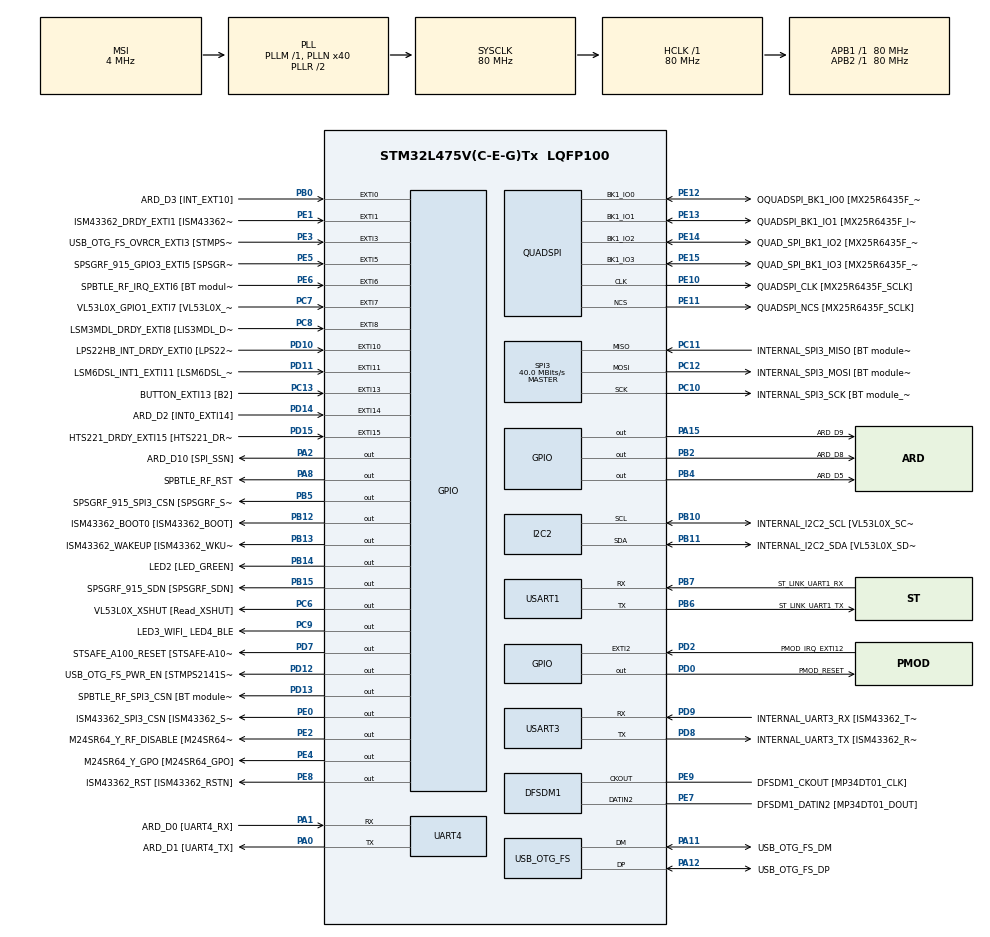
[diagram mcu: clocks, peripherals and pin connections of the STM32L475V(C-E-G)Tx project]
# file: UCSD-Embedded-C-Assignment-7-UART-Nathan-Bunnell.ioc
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PD12.GPIO_Label=USB_OTG_FS_PWR_EN [STMPS2141STR_EN]
SPI3.Direction=SPI_DIRECTION_2LINES
SPI3.VirtualType=VM_MASTER
QUADSPI.ClockPrescaler=2
PB10.Mode=I2C
PC12.Signal=SPI3_MOSI
PB14.GPIO_Label=LED2 [LED_GREEN]
PC6.GPIO_Label=VL53L0X_XSHUT [Read_XSHUT]
PA6.GPIO_Label=ARD_D12 [SPI1_MISO]
PB6.GPIO_Label=ST_LINK_UART1_TX
PA15\ (JTDI).Signal=GPIO_Output
PC15-OSC32_OUT\ (PC15).Mode=LSE-External-Oscillator
PB13.Signal=GPIO_Output
PD6.GPIO_Label=PMOD_UART2_RX
PE6.GPIO_Label=SPBTLE_RF_IRQ_EXTI6 [BT module_SPI_IRQ]
RCC.SYSCLKSource=RCC_SYSCLKSOURCE_PLLCLK
PC14-OSC32_IN\ (PC14).Mode=LSE-External-Oscillator
SH.ADCx_IN16.0=ADC1_IN16
USART3.VirtualMode-Asynchronous=VM_ASYNC
PA14\ (JTCK-SWCLK).Signal=SYS_JTCK-SWCLK
PD4.Signal=USART2_RTS
RCC.APB2TimFreq_Value=80000000
PB6.Signal=USART1_TX
PC7.Signal=GPXTI7
PB6.Mode=Asynchronous
PC3.Signal=ADCx_IN4
PD0.Signal=GPIO_Output
PD8.Signal=USART3_TX
PE5.Signal=GPXTI5
PE1.Signal=GPXTI1
QUADSPI.FlashSize=23
NVIC.EXTI15_10_IRQn=true\:0\:0\:false\:false\:true\:true\:true
PB2.Signal=GPIO_Output
PD1.GPIO_Label=PMOD_SPI2_SCK
PB12.GPIO_Label=ISM43362_BOOT0 [ISM43362_BOOT]
PC4.GPIO_Label=ARD_A1 [ADC]
PE9.Signal=S_CKOUTDFSDM1
PB1.GPIO_Label=ARD_D6 [ADC1_IN6]
PE4.GPIO_Label=M24SR64_Y_GPO [M24SR64_GPO]
PA0.Mode=Asynchronous
PE2.Signal=GPIO_Output
PA8.Signal=GPIO_Output
PE13.Mode=Single Bank
PE10.Signal=QUADSPI_CLK
PA0.Signal=UART4_TX
Mcu.Package=LQFP100
PB9.Signal=I2C1_SDA
PB1.Signal=ADCx_IN16
SPI3.Mode=SPI_MODE_MASTER
SH.ADCx_IN14.0=ADC1_IN14
PD12.Signal=GPIO_Output
PA10.Signal=USB_OTG_FS_ID
PE12.GPIO_Label=OQUADSPI_BK1_IO0 [MX25R6435F_IO0]
PC11.Mode=Full_Duplex_Master
SH.ADCx_IN9.0=ADC1_IN9
RCC.APB1TimFreq_Value=80000000
PA13\ (JTMS-SWDIO).Signal=SYS_JTMS-SWDIO
PE10.GPIO_Label=QUADSPI_CLK [MX25R6435F_SCLK]
PA4.GPIO_Label=ARD_D7
PD15.Signal=GPXTI15
PE12.Mode=Single Bank
PD9.GPIO_Label=INTERNAL_UART3_RX [ISM43362_TX]
PA9.GPIO_Label=USB_OTG_FS_VBUS [STMPS2141STR_OUT]
PC13.Signal=GPXTI13
PD3.Signal=USART2_CTS
PC6.Signal=GPIO_Output
PE10.Mode=Single Bank
PC2.Signal=ADCx_IN3
PB11.GPIO_Label=INTERNAL_I2C2_SDA [VL53L0X_SDA]
PD7.Signal=GPIO_Output
PD1.Signal=SPI2_SCK
PA11.GPIO_Label=USB_OTG_FS_DM
PC0.Signal=ADCx_IN1
PD10.Signal=GPXTI10
PB8.GPIO_Label=ARD_D15 [I2C1_SCL]
PA8.GPIO_Label=SPBTLE_RF_RST
PB11.Mode=I2C
PE8.GPIO_Label=ISM43362_RST [ISM43362_RSTN]
PA9.Signal=USB_OTG_FS_VBUS
PE9.GPIO_Label=DFSDM1_CKOUT [MP34DT01_CLK]
PD8.Mode=Asynchronous
PB10.Signal=I2C2_SCL
PB14.Signal=GPIO_Output
PA5.Signal=SPI1_SCK
PC12.Mode=Full_Duplex_Master
PE1.GPIO_Label=ISM43362_DRDY_EXTI1 [ISM43362_DATARDY]
PA1.Mode=Asynchronous
PE14.Signal=QUADSPI_BK1_IO2
PE15.Signal=QUADSPI_BK1_IO3
PB15.GPIO_Label=SPSGRF_915_SDN [SPSGRF_SDN]
PE8.Signal=GPIO_Output
PA1.GPIO_Label=ARD_D0 [UART4_RX]
SH.ADCx_IN4.0=ADC1_IN4
QUADSPI.FifoThreshold=4
PC7.GPIO_Label=VL53L0X_GPIO1_EXTI7 [VL53L0X_GPIO1]
PA13\ (JTMS-SWDIO).Mode=Serial_Wire
PA4.Signal=ADCx_IN9
PB5.Signal=GPIO_Output
PE13.GPIO_Label=QUADSPI_BK1_IO1 [MX25R6435F_IO1]
PA5.GPIO_Label=ARD_D13 [SPI1_SCK]
PD11.Signal=GPXTI11
PE5.GPIO_Label=SPSGRF_915_GPIO3_EXTI5 [SPSGRF_GPIO_3]
PC12.GPIO_Label=INTERNAL_SPI3_MOSI [BT module_SPI_MOSI] [ISM43362_MOSI]
PA11.Signal=USB_OTG_FS_DM
ProjectManager.HeapSize=0x200
NVIC.PriorityGroup=NVIC_PRIORITYGROUP_4
PE3.Signal=GPXTI3
PC3.GPIO_Label=ARD_A2 [ADC]
PB4\ (NJTRST).GPIO_Label=ARD_D5
PD2.Signal=GPXTI2
PB0.Signal=GPXTI0
PC1.Signal=ADCx_IN2
PD2.GPIO_Label=PMOD_IRQ_EXTI12
PE15.Mode=Single Bank
Mcu.Family=STM32L4
RCC.CortexFreq_Value=80000000
PE11.GPIO_Label=QUADSPI_NCS [MX25R6435F_SCLK]
SH.ADCx_IN2.0=ADC1_IN2
PC10.Signal=SPI3_SCK
PA0.GPIO_Label=ARD_D1 [UART4_TX]
PC0.GPIO_Label=ARD_A5 [ADC]
PD0.GPIO_Label=PMOD_RESET
PA11.Mode=Device_Only
PB0.GPIO_Label=ARD_D3 [INT_EXT10]
PC13.GPIO_Label=BUTTON_EXTI13 [B2]
PB13.GPIO_Label=ISM43362_WAKEUP [ISM43362_WKUP]
PB11.Signal=I2C2_SDA
PB15.Signal=GPIO_Output
PD9.Mode=Asynchronous
ProjectManager.StackSize=0x400
PB3\ (JTDO-TRACESWO).Signal=SYS_JTDO-SWO
PD13.Signal=GPIO_Output
PA12.Signal=USB_OTG_FS_DP
PE11.Mode=Single Bank
PD11.GPIO_Label=LSM6DSL_INT1_EXTI11 [LSM6DSL_INT1]
RCC.HCLKFreq_Value=80000000
SH.ADCx_IN3.0=ADC1_IN3
PB5.PinState=GPIO_PIN_SET
RCC.AHBFreq_Value=80000000
RCC.HSE_VALUE=8000000
PE13.Signal=QUADSPI_BK1_IO1
PC11.GPIO_Label=INTERNAL_SPI3_MISO [BT module_SPI_MISO] [ISM43362_MISO]
PA10.GPIO_Label=USB_OTG_FS_ID
PB7.Signal=USART1_RX
PE4.Signal=GPIO_Output
QUADSPI.SampleShifting=QSPI_SAMPLE_SHIFTING_HALFCYCLE
PD7.GPIO_Label=STSAFE_A100_RESET [STSAFE-A100_RESET]
PB7.GPIO_Label=ST_LINK_UART1_RX
PD13.GPIO_Label=SPBTLE_RF_SPI3_CSN [BT module_SPI_CS]
PA6.Signal=SPI1_MISO
PD5.GPIO_Label=PMOD_UART2_TX
PA2.GPIO_Label=ARD_D10 [SPI_SSN]
USB_OTG_FS.VirtualMode=Device_Only
PE0.GPIO_Label=ISM43362_SPI3_CSN [ISM43362_SSN]
SH.ADCx_IN1.0=ADC1_IN1
PB5.GPIO_Label=SPSGRF_915_SPI3_CSN [SPSGRF_SPI_CS]
PC5.Signal=ADCx_IN14
PD3.GPIO_Label=PMOD_UART2_CTS
PE7.Signal=S_DATAIN2DFSDM1
PD6.Signal=USART2_RX
PE2.GPIO_Label=M24SR64_Y_RF_DISABLE [M24SR64_RFDIS]
PC2.GPIO_Label=ARD_A3 [ADC]
RCC.PLLSAI1N=24
PA3.Signal=S_TIM2_CH4
RCC.MSI_VALUE=4000000
PA14\ (JTCK-SWCLK).Mode=Serial_Wire
SH.ADCx_IN13.0=ADC1_IN13
PD15.GPIO_Label=HTS221_DRDY_EXTI15 [HTS221_DRDY]
PB9.GPIO_Label=ARD_D14 [I2C1_SDA]
PC10.GPIO_Label=INTERNAL_SPI3_SCK [BT module_SPI_SCLK] [ISM43362_SCK]
PC9.GPIO_Label=LED3_WIFI_ LED4_BLE
PC11.Signal=SPI3_MISO
PC8.Signal=GPXTI8
PC4.Signal=ADCx_IN13
PC10.Mode=Full_Duplex_Master
SH.S_DATAIN2DFSDM1.0=DFSDM1_DATIN2,PDM_SPI_Input_from_ch12_and_Internal_Clock
PE14.GPIO_Label=QUAD_SPI_BK1_IO2 [MX25R6435F_IO2]
PC15-OSC32_OUT\ (PC15).Signal=RCC_OSC32_OUT
PD9.Signal=USART3_RX
PD5.Signal=USART2_TX
PA14\ (JTCK-SWCLK).GPIO_Label=SYS_JTCK_SWCLK
PB3\ (JTDO-TRACESWO).GPIO_Label=SYS_JTD0_SWO
PA12.GPIO_Label=USB_OTG_FS_DP
PD8.GPIO_Label=INTERNAL_UART3_TX [ISM43362_RX]
PC8.GPIO_Label=LSM3MDL_DRDY_EXTI8 [LIS3MDL_DRDY]
USART1.VirtualMode-Asynchronous=VM_ASYNC
PE0.PinState=GPIO_PIN_SET
PE15.GPIO_Label=QUAD_SPI_BK1_IO3 [MX25R6435F_IO3]
ProjectManager.TargetToolchain=STM32CubeIDE
PB10.GPIO_Label=INTERNAL_I2C2_SCL [VL53L0X_SCL]
RCC.USBFreq_Value=48000000
PD10.GPIO_Label=LPS22HB_INT_DRDY_EXTI0 [LPS22HB_INT_DRDY] 
PE11.Signal=QUADSPI_NCS
PA1.Signal=UART4_RX
board=B-L475E-IOT01A1
RCC.VCOOutputFreq_Value=160000000
RCC.APB2Freq_Value=80000000
SPI3.CalculateBaudRate=40.0 MBits/s
PA13\ (JTMS-SWDIO).GPIO_Label=SYS_JTMS_SWDIO
PD4.GPIO_Label=PMOD_UART2_RTS
PE14.Mode=Single Bank
SH.S_CKOUTDFSDM1.0=DFSDM1_CKOUT,CKOUT
SH.S_CKOUTDFSDM1.1=DFSDM1_CKOUT,PDM_SPI_Input_from_ch12_and_Internal_Clock
RCC.ADCFreq_Value=48000000
PC1.GPIO_Label=ARD_A4 [ADC]
PD14.GPIO_Label=ARD_D2 [INT0_EXTI14]
PE6.Signal=GPXTI6
PA15\ (JTDI).GPIO_Label=ARD_D9
Mcu.Name=STM32L475V(C-E-G)Tx
PE0.Signal=GPIO_Output
PE7.GPIO_Label=DFSDM1_DATIN2 [MP34DT01_DOUT]
PE12.Signal=QUADSPI_BK1_IO0
PA2.Signal=GPIO_Output
PD14.Signal=GPXTI14
RCC.SYSCLKFreq_VALUE=80000000
PA7.GPIO_Label=ARD_D11 [SPI1_MOSI]
PA12.Mode=Device_Only
PC13.GPIO_ModeDefaultEXTI=GPIO_MODE_IT_FALLING
PC5.GPIO_Label=ARD_A0 [ADC]
PC14-OSC32_IN\ (PC14).Signal=RCC_OSC32_IN
PB7.Mode=Asynchronous
NVIC.EXTI9_5_IRQn=true\:0\:0\:false\:false\:true\:true\:true
PB2.GPIO_Label=ARD_D8
SH.S_TIM2_CH4.0=TIM2_CH4
RCC.HSI_VALUE=16000000
RCC.PLLN=40
PB8.Signal=I2C1_SCL
PE3.GPIO_Label=USB_OTG_FS_OVRCR_EXTI3 [STMPS2141STR_FAULT]
PC9.Signal=GPIO_Output
PD13.PinState=GPIO_PIN_SET
RCC.APB1Freq_Value=80000000
PB12.Signal=GPIO_Output
PA3.GPIO_Label=ARD_D4
PA7.Signal=SPI1_MOSI
PB4\ (NJTRST).Signal=GPIO_Output

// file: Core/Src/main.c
/* USER CODE BEGIN Header */
/**
  ******************************************************************************
  * @file           : main.c
  * @brief          : Main program body
  ******************************************************************************
  * @attention
  *
  * <h2><center>&copy; Copyright (c) 2021 STMicroelectronics.
  * All rights reserved.</center></h2>
  *
  * This software component is licensed by ST under BSD 3-Clause license,
  * the "License"; You may not use this file except in compliance with the
  * License. You may obtain a copy of the License at:
  *                        opensource.org/licenses/BSD-3-Clause
  *
  ******************************************************************************
  */
/* USER CODE END Header */
#include "main.h"

/* USER CODE BEGIN Includes */

#include <stdio.h>
#include <string.h>

/* USER CODE END Includes */

DFSDM_Channel_HandleTypeDef hdfsdm1_channel1;

I2C_HandleTypeDef hi2c2;

QSPI_HandleTypeDef hqspi;

SPI_HandleTypeDef hspi3;

UART_HandleTypeDef huart4;
UART_HandleTypeDef huart1;
UART_HandleTypeDef huart3;

PCD_HandleTypeDef hpcd_USB_OTG_FS;

void SystemClock_Config(void);
static void MX_GPIO_Init(void);
static void MX_DFSDM1_Init(void);
static void MX_I2C2_Init(void);
static void MX_QUADSPI_Init(void);
static void MX_SPI3_Init(void);
static void MX_USART1_UART_Init(void);
static void MX_USART3_UART_Init(void);
static void MX_USB_OTG_FS_PCD_Init(void);
static void MX_UART4_Init(void);

int main(void)
{

  /* MCU Configuration--------------------------------------------------------*/

  /* Reset of all peripherals, Initializes the Flash interface and the Systick. */
  HAL_Init();

  /* Configure the system clock */
  SystemClock_Config();

  /* Initialize all configured peripherals */
  MX_GPIO_Init();
  MX_DFSDM1_Init();
  MX_I2C2_Init();
  MX_QUADSPI_Init();
  MX_SPI3_Init();
  MX_USART1_UART_Init();
  MX_USART3_UART_Init();
  MX_USB_OTG_FS_PCD_Init();
  MX_UART4_Init();

  /* USER CODE BEGIN 2 */

  char buffer[100] = {0};
  uint8_t uart1Counter = 0;
  uint8_t uart4Counter = 0;

  snprintf(buffer, sizeof(buffer), "UART1: %d\n", uart1Counter);
  HAL_UART_Transmit(&huart1, (uint8_t*) buffer, strlen(buffer), 1000);

  snprintf(buffer, sizeof(buffer), "UART4: %d\n", uart4Counter);
  HAL_UART_Transmit(&huart4, (uint8_t*) buffer, strlen(buffer), 1000);

  /* USER CODE END 2 */

  /* Infinite loop */
  while (1)
  {
    /* USER CODE BEGIN 3 */

	  for (uint16_t loopCounter = 1; loopCounter < 1000; loopCounter++)
		{
		  HAL_Delay(1000);

		  if ((loopCounter % 5) == 0)
		  {
			  uart1Counter++;
			  snprintf(buffer, sizeof(buffer), "UART1: %d\n", uart1Counter);
			  HAL_UART_Transmit(&huart1, (uint8_t*) buffer, strlen(buffer), 1000);
		  }
		  if ((loopCounter % 10) == 0)
		  {
			  uart4Counter++;
			  snprintf(buffer, sizeof(buffer), "UART4: %d\n", uart4Counter);
			  HAL_UART_Transmit(&huart4, (uint8_t*) buffer, strlen(buffer), 1000);
		  }
		}
  }
  /* USER CODE END 3 */
}

void SystemClock_Config(void)
{
  RCC_OscInitTypeDef RCC_OscInitStruct = {0};
  RCC_ClkInitTypeDef RCC_ClkInitStruct = {0};
  RCC_PeriphCLKInitTypeDef PeriphClkInit = {0};

  /** Configure LSE Drive Capability
  */
  HAL_PWR_EnableBkUpAccess();
  __HAL_RCC_LSEDRIVE_CONFIG(RCC_LSEDRIVE_LOW);
  /** Initializes the RCC Oscillators according to the specified parameters
  * in the RCC_OscInitTypeDef structure.
  */
  RCC_OscInitStruct.OscillatorType = RCC_OSCILLATORTYPE_LSE|RCC_OSCILLATORTYPE_MSI;
  RCC_OscInitStruct.LSEState = RCC_LSE_ON;
  RCC_OscInitStruct.MSIState = RCC_MSI_ON;
  RCC_OscInitStruct.MSICalibrationValue = 0;
  RCC_OscInitStruct.MSIClockRange = RCC_MSIRANGE_6;
  RCC_OscInitStruct.PLL.PLLState = RCC_PLL_ON;
  RCC_OscInitStruct.PLL.PLLSource = RCC_PLLSOURCE_MSI;
  RCC_OscInitStruct.PLL.PLLM = 1;
  RCC_OscInitStruct.PLL.PLLN = 40;
  RCC_OscInitStruct.PLL.PLLP = RCC_PLLP_DIV7;
  RCC_OscInitStruct.PLL.PLLQ = RCC_PLLQ_DIV2;
  RCC_OscInitStruct.PLL.PLLR = RCC_PLLR_DIV2;
  if (HAL_RCC_OscConfig(&RCC_OscInitStruct) != HAL_OK)
  {
    Error_Handler();
  }
  /** Initializes the CPU, AHB and APB buses clocks
  */
  RCC_ClkInitStruct.ClockType = RCC_CLOCKTYPE_HCLK|RCC_CLOCKTYPE_SYSCLK
                              |RCC_CLOCKTYPE_PCLK1|RCC_CLOCKTYPE_PCLK2;
  RCC_ClkInitStruct.SYSCLKSource = RCC_SYSCLKSOURCE_PLLCLK;
  RCC_ClkInitStruct.AHBCLKDivider = RCC_SYSCLK_DIV1;
  RCC_ClkInitStruct.APB1CLKDivider = RCC_HCLK_DIV1;
  RCC_ClkInitStruct.APB2CLKDivider = RCC_HCLK_DIV1;

  if (HAL_RCC_ClockConfig(&RCC_ClkInitStruct, FLASH_LATENCY_4) != HAL_OK)
  {
    Error_Handler();
  }
  PeriphClkInit.PeriphClockSelection = RCC_PERIPHCLK_USART1|RCC_PERIPHCLK_USART3
                              |RCC_PERIPHCLK_UART4|RCC_PERIPHCLK_I2C2
                              |RCC_PERIPHCLK_DFSDM1|RCC_PERIPHCLK_USB;
  PeriphClkInit.Usart1ClockSelection = RCC_USART1CLKSOURCE_PCLK2;
  PeriphClkInit.Usart3ClockSelection = RCC_USART3CLKSOURCE_PCLK1;
  PeriphClkInit.Uart4ClockSelection = RCC_UART4CLKSOURCE_PCLK1;
  PeriphClkInit.I2c2ClockSelection = RCC_I2C2CLKSOURCE_PCLK1;
  PeriphClkInit.Dfsdm1ClockSelection = RCC_DFSDM1CLKSOURCE_PCLK;
  PeriphClkInit.UsbClockSelection = RCC_USBCLKSOURCE_PLLSAI1;
  PeriphClkInit.PLLSAI1.PLLSAI1Source = RCC_PLLSOURCE_MSI;
  PeriphClkInit.PLLSAI1.PLLSAI1M = 1;
  PeriphClkInit.PLLSAI1.PLLSAI1N = 24;
  PeriphClkInit.PLLSAI1.PLLSAI1P = RCC_PLLP_DIV7;
  PeriphClkInit.PLLSAI1.PLLSAI1Q = RCC_PLLQ_DIV2;
  PeriphClkInit.PLLSAI1.PLLSAI1R = RCC_PLLR_DIV2;
  PeriphClkInit.PLLSAI1.PLLSAI1ClockOut = RCC_PLLSAI1_48M2CLK;
  if (HAL_RCCEx_PeriphCLKConfig(&PeriphClkInit) != HAL_OK)
  {
    Error_Handler();
  }
  /** Configure the main internal regulator output voltage
  */
  if (HAL_PWREx_ControlVoltageScaling(PWR_REGULATOR_VOLTAGE_SCALE1) != HAL_OK)
  {
    Error_Handler();
  }
  /** Enable MSI Auto calibration
  */
  HAL_RCCEx_EnableMSIPLLMode();
}

static void MX_DFSDM1_Init(void)
{

  hdfsdm1_channel1.Instance = DFSDM1_Channel1;
  hdfsdm1_channel1.Init.OutputClock.Activation = ENABLE;
  hdfsdm1_channel1.Init.OutputClock.Selection = DFSDM_CHANNEL_OUTPUT_CLOCK_SYSTEM;
  hdfsdm1_channel1.Init.OutputClock.Divider = 2;
  hdfsdm1_channel1.Init.Input.Multiplexer = DFSDM_CHANNEL_EXTERNAL_INPUTS;
  hdfsdm1_channel1.Init.Input.DataPacking = DFSDM_CHANNEL_STANDARD_MODE;
  hdfsdm1_channel1.Init.Input.Pins = DFSDM_CHANNEL_FOLLOWING_CHANNEL_PINS;
  hdfsdm1_channel1.Init.SerialInterface.Type = DFSDM_CHANNEL_SPI_RISING;
  hdfsdm1_channel1.Init.SerialInterface.SpiClock = DFSDM_CHANNEL_SPI_CLOCK_INTERNAL;
  hdfsdm1_channel1.Init.Awd.FilterOrder = DFSDM_CHANNEL_FASTSINC_ORDER;
  hdfsdm1_channel1.Init.Awd.Oversampling = 1;
  hdfsdm1_channel1.Init.Offset = 0;
  hdfsdm1_channel1.Init.RightBitShift = 0x00;
  if (HAL_DFSDM_ChannelInit(&hdfsdm1_channel1) != HAL_OK)
  {
    Error_Handler();
  }

}

static void MX_I2C2_Init(void)
{

  hi2c2.Instance = I2C2;
  hi2c2.Init.Timing = 0x00000E14;
  hi2c2.Init.OwnAddress1 = 0;
  hi2c2.Init.AddressingMode = I2C_ADDRESSINGMODE_7BIT;
  hi2c2.Init.DualAddressMode = I2C_DUALADDRESS_DISABLE;
  hi2c2.Init.OwnAddress2 = 0;
  hi2c2.Init.OwnAddress2Masks = I2C_OA2_NOMASK;
  hi2c2.Init.GeneralCallMode = I2C_GENERALCALL_DISABLE;
  hi2c2.Init.NoStretchMode = I2C_NOSTRETCH_DISABLE;
  if (HAL_I2C_Init(&hi2c2) != HAL_OK)
  {
    Error_Handler();
  }
  /** Configure Analogue filter
  */
  if (HAL_I2CEx_ConfigAnalogFilter(&hi2c2, I2C_ANALOGFILTER_ENABLE) != HAL_OK)
  {
    Error_Handler();
  }
  /** Configure Digital filter
  */
  if (HAL_I2CEx_ConfigDigitalFilter(&hi2c2, 0) != HAL_OK)
  {
    Error_Handler();
  }

}

static void MX_QUADSPI_Init(void)
{

  /* QUADSPI parameter configuration*/
  hqspi.Instance = QUADSPI;
  hqspi.Init.ClockPrescaler = 2;
  hqspi.Init.FifoThreshold = 4;
  hqspi.Init.SampleShifting = QSPI_SAMPLE_SHIFTING_HALFCYCLE;
  hqspi.Init.FlashSize = 23;
  hqspi.Init.ChipSelectHighTime = QSPI_CS_HIGH_TIME_1_CYCLE;
  hqspi.Init.ClockMode = QSPI_CLOCK_MODE_0;
  if (HAL_QSPI_Init(&hqspi) != HAL_OK)
  {
    Error_Handler();
  }

}

static void MX_SPI3_Init(void)
{

  /* SPI3 parameter configuration*/
  hspi3.Instance = SPI3;
  hspi3.Init.Mode = SPI_MODE_MASTER;
  hspi3.Init.Direction = SPI_DIRECTION_2LINES;
  hspi3.Init.DataSize = SPI_DATASIZE_4BIT;
  hspi3.Init.CLKPolarity = SPI_POLARITY_LOW;
  hspi3.Init.CLKPhase = SPI_PHASE_1EDGE;
  hspi3.Init.NSS = SPI_NSS_SOFT;
  hspi3.Init.BaudRatePrescaler = SPI_BAUDRATEPRESCALER_2;
  hspi3.Init.FirstBit = SPI_FIRSTBIT_MSB;
  hspi3.Init.TIMode = SPI_TIMODE_DISABLE;
  hspi3.Init.CRCCalculation = SPI_CRCCALCULATION_DISABLE;
  hspi3.Init.CRCPolynomial = 7;
  hspi3.Init.CRCLength = SPI_CRC_LENGTH_DATASIZE;
  hspi3.Init.NSSPMode = SPI_NSS_PULSE_ENABLE;
  if (HAL_SPI_Init(&hspi3) != HAL_OK)
  {
    Error_Handler();
  }

}

static void MX_UART4_Init(void)
{

  huart4.Instance = UART4;
  huart4.Init.BaudRate = 115200;
  huart4.Init.WordLength = UART_WORDLENGTH_8B;
  huart4.Init.StopBits = UART_STOPBITS_1;
  huart4.Init.Parity = UART_PARITY_NONE;
  huart4.Init.Mode = UART_MODE_TX_RX;
  huart4.Init.HwFlowCtl = UART_HWCONTROL_NONE;
  huart4.Init.OverSampling = UART_OVERSAMPLING_16;
  huart4.Init.OneBitSampling = UART_ONE_BIT_SAMPLE_DISABLE;
  huart4.AdvancedInit.AdvFeatureInit = UART_ADVFEATURE_NO_INIT;
  if (HAL_UART_Init(&huart4) != HAL_OK)
  {
    Error_Handler();
  }

}

static void MX_USART1_UART_Init(void)
{

  huart1.Instance = USART1;
  huart1.Init.BaudRate = 115200;
  huart1.Init.WordLength = UART_WORDLENGTH_8B;
  huart1.Init.StopBits = UART_STOPBITS_1;
  huart1.Init.Parity = UART_PARITY_NONE;
  huart1.Init.Mode = UART_MODE_TX_RX;
  huart1.Init.HwFlowCtl = UART_HWCONTROL_NONE;
  huart1.Init.OverSampling = UART_OVERSAMPLING_16;
  huart1.Init.OneBitSampling = UART_ONE_BIT_SAMPLE_DISABLE;
  huart1.AdvancedInit.AdvFeatureInit = UART_ADVFEATURE_NO_INIT;
  if (HAL_UART_Init(&huart1) != HAL_OK)
  {
    Error_Handler();
  }

}

static void MX_USART3_UART_Init(void)
{

  huart3.Instance = USART3;
  huart3.Init.BaudRate = 115200;
  huart3.Init.WordLength = UART_WORDLENGTH_8B;
  huart3.Init.StopBits = UART_STOPBITS_1;
  huart3.Init.Parity = UART_PARITY_NONE;
  huart3.Init.Mode = UART_MODE_TX_RX;
  huart3.Init.HwFlowCtl = UART_HWCONTROL_NONE;
  huart3.Init.OverSampling = UART_OVERSAMPLING_16;
  huart3.Init.OneBitSampling = UART_ONE_BIT_SAMPLE_DISABLE;
  huart3.AdvancedInit.AdvFeatureInit = UART_ADVFEATURE_NO_INIT;
  if (HAL_UART_Init(&huart3) != HAL_OK)
  {
    Error_Handler();
  }

}

static void MX_USB_OTG_FS_PCD_Init(void)
{

  hpcd_USB_OTG_FS.Instance = USB_OTG_FS;
  hpcd_USB_OTG_FS.Init.dev_endpoints = 6;
  hpcd_USB_OTG_FS.Init.speed = PCD_SPEED_FULL;
  hpcd_USB_OTG_FS.Init.phy_itface = PCD_PHY_EMBEDDED;
  hpcd_USB_OTG_FS.Init.Sof_enable = DISABLE;
  hpcd_USB_OTG_FS.Init.low_power_enable = DISABLE;
  hpcd_USB_OTG_FS.Init.lpm_enable = DISABLE;
  hpcd_USB_OTG_FS.Init.battery_charging_enable = DISABLE;
  hpcd_USB_OTG_FS.Init.use_dedicated_ep1 = DISABLE;
  hpcd_USB_OTG_FS.Init.vbus_sensing_enable = DISABLE;
  if (HAL_PCD_Init(&hpcd_USB_OTG_FS) != HAL_OK)
  {
    Error_Handler();
  }

}

static void MX_GPIO_Init(void)
{
  GPIO_InitTypeDef GPIO_InitStruct = {0};

  /* GPIO Ports Clock Enable */
  __HAL_RCC_GPIOE_CLK_ENABLE();
  __HAL_RCC_GPIOC_CLK_ENABLE();
  __HAL_RCC_GPIOA_CLK_ENABLE();
  __HAL_RCC_GPIOB_CLK_ENABLE();
  __HAL_RCC_GPIOD_CLK_ENABLE();

  /*Configure GPIO pin Output Level */
  HAL_GPIO_WritePin(GPIOE, M24SR64_Y_RF_DISABLE_Pin|M24SR64_Y_GPO_Pin|ISM43362_RST_Pin, GPIO_PIN_RESET);

  /*Configure GPIO pin Output Level */
  HAL_GPIO_WritePin(GPIOA, ARD_D10_Pin|SPBTLE_RF_RST_Pin|ARD_D9_Pin, GPIO_PIN_RESET);

  /*Configure GPIO pin Output Level */
  HAL_GPIO_WritePin(GPIOB, ARD_D8_Pin|ISM43362_BOOT0_Pin|ISM43362_WAKEUP_Pin|LED2_Pin
                          |SPSGRF_915_SDN_Pin|ARD_D5_Pin, GPIO_PIN_RESET);

  /*Configure GPIO pin Output Level */
  HAL_GPIO_WritePin(GPIOD, USB_OTG_FS_PWR_EN_Pin|PMOD_RESET_Pin|STSAFE_A100_RESET_Pin, GPIO_PIN_RESET);

  /*Configure GPIO pin Output Level */
  HAL_GPIO_WritePin(SPBTLE_RF_SPI3_CSN_GPIO_Port, SPBTLE_RF_SPI3_CSN_Pin, GPIO_PIN_SET);

  /*Configure GPIO pin Output Level */
  HAL_GPIO_WritePin(GPIOC, VL53L0X_XSHUT_Pin|LED3_WIFI__LED4_BLE_Pin, GPIO_PIN_RESET);

  /*Configure GPIO pin Output Level */
  HAL_GPIO_WritePin(SPSGRF_915_SPI3_CSN_GPIO_Port, SPSGRF_915_SPI3_CSN_Pin, GPIO_PIN_SET);

  /*Configure GPIO pin Output Level */
  HAL_GPIO_WritePin(ISM43362_SPI3_CSN_GPIO_Port, ISM43362_SPI3_CSN_Pin, GPIO_PIN_SET);

  /*Configure GPIO pins : M24SR64_Y_RF_DISABLE_Pin M24SR64_Y_GPO_Pin ISM43362_RST_Pin ISM43362_SPI3_CSN_Pin */
  GPIO_InitStruct.Pin = M24SR64_Y_RF_DISABLE_Pin|M24SR64_Y_GPO_Pin|ISM43362_RST_Pin|ISM43362_SPI3_CSN_Pin;
  GPIO_InitStruct.Mode = GPIO_MODE_OUTPUT_PP;
  GPIO_InitStruct.Pull = GPIO_NOPULL;
  GPIO_InitStruct.Speed = GPIO_SPEED_FREQ_LOW;
  HAL_GPIO_Init(GPIOE, &GPIO_InitStruct);

  /*Configure GPIO pins : USB_OTG_FS_OVRCR_EXTI3_Pin SPSGRF_915_GPIO3_EXTI5_Pin SPBTLE_RF_IRQ_EXTI6_Pin ISM43362_DRDY_EXTI1_Pin */
  GPIO_InitStruct.Pin = USB_OTG_FS_OVRCR_EXTI3_Pin|SPSGRF_915_GPIO3_EXTI5_Pin|SPBTLE_RF_IRQ_EXTI6_Pin|ISM43362_DRDY_EXTI1_Pin;
  GPIO_InitStruct.Mode = GPIO_MODE_IT_RISING;
  GPIO_InitStruct.Pull = GPIO_NOPULL;
  HAL_GPIO_Init(GPIOE, &GPIO_InitStruct);

  /*Configure GPIO pin : BUTTON_EXTI13_Pin */
  GPIO_InitStruct.Pin = BUTTON_EXTI13_Pin;
  GPIO_InitStruct.Mode = GPIO_MODE_IT_FALLING;
  GPIO_InitStruct.Pull = GPIO_NOPULL;
  HAL_GPIO_Init(BUTTON_EXTI13_GPIO_Port, &GPIO_InitStruct);

  /*Configure GPIO pins : ARD_A5_Pin ARD_A4_Pin ARD_A3_Pin ARD_A2_Pin
                           ARD_A1_Pin ARD_A0_Pin */
  GPIO_InitStruct.Pin = ARD_A5_Pin|ARD_A4_Pin|ARD_A3_Pin|ARD_A2_Pin
                          |ARD_A1_Pin|ARD_A0_Pin;
  GPIO_InitStruct.Mode = GPIO_MODE_ANALOG_ADC_CONTROL;
  GPIO_InitStruct.Pull = GPIO_NOPULL;
  HAL_GPIO_Init(GPIOC, &GPIO_InitStruct);

  /*Configure GPIO pins : ARD_D10_Pin SPBTLE_RF_RST_Pin ARD_D9_Pin */
  GPIO_InitStruct.Pin = ARD_D10_Pin|SPBTLE_RF_RST_Pin|ARD_D9_Pin;
  GPIO_InitStruct.Mode = GPIO_MODE_OUTPUT_PP;
  GPIO_InitStruct.Pull = GPIO_NOPULL;
  GPIO_InitStruct.Speed = GPIO_SPEED_FREQ_LOW;
  HAL_GPIO_Init(GPIOA, &GPIO_InitStruct);

  /*Configure GPIO pin : ARD_D4_Pin */
  GPIO_InitStruct.Pin = ARD_D4_Pin;
  GPIO_InitStruct.Mode = GPIO_MODE_AF_PP;
  GPIO_InitStruct.Pull = GPIO_NOPULL;
  GPIO_InitStruct.Speed = GPIO_SPEED_FREQ_LOW;
  GPIO_InitStruct.Alternate = GPIO_AF1_TIM2;
  HAL_GPIO_Init(ARD_D4_GPIO_Port, &GPIO_InitStruct);

  /*Configure GPIO pin : ARD_D7_Pin */
  GPIO_InitStruct.Pin = ARD_D7_Pin;
  GPIO_InitStruct.Mode = GPIO_MODE_ANALOG_ADC_CONTROL;
  GPIO_InitStruct.Pull = GPIO_NOPULL;
  HAL_GPIO_Init(ARD_D7_GPIO_Port, &GPIO_InitStruct);

  /*Configure GPIO pins : ARD_D13_Pin ARD_D12_Pin ARD_D11_Pin */
  GPIO_InitStruct.Pin = ARD_D13_Pin|ARD_D12_Pin|ARD_D11_Pin;
  GPIO_InitStruct.Mode = GPIO_MODE_AF_PP;
  GPIO_InitStruct.Pull = GPIO_NOPULL;
  GPIO_InitStruct.Speed = GPIO_SPEED_FREQ_VERY_HIGH;
  GPIO_InitStruct.Alternate = GPIO_AF5_SPI1;
  HAL_GPIO_Init(GPIOA, &GPIO_InitStruct);

  /*Configure GPIO pin : ARD_D3_Pin */
  GPIO_InitStruct.Pin = ARD_D3_Pin;
  GPIO_InitStruct.Mode = GPIO_MODE_IT_RISING;
  GPIO_InitStruct.Pull = GPIO_NOPULL;
  HAL_GPIO_Init(ARD_D3_GPIO_Port, &GPIO_InitStruct);

  /*Configure GPIO pin : ARD_D6_Pin */
  GPIO_InitStruct.Pin = ARD_D6_Pin;
  GPIO_InitStruct.Mode = GPIO_MODE_ANALOG_ADC_CONTROL;
  GPIO_InitStruct.Pull = GPIO_NOPULL;
  HAL_GPIO_Init(ARD_D6_GPIO_Port, &GPIO_InitStruct);

  /*Configure GPIO pins : ARD_D8_Pin ISM43362_BOOT0_Pin ISM43362_WAKEUP_Pin LED2_Pin
                           SPSGRF_915_SDN_Pin ARD_D5_Pin SPSGRF_915_SPI3_CSN_Pin */
  GPIO_InitStruct.Pin = ARD_D8_Pin|ISM43362_BOOT0_Pin|ISM43362_WAKEUP_Pin|LED2_Pin
                          |SPSGRF_915_SDN_Pin|ARD_D5_Pin|SPSGRF_915_SPI3_CSN_Pin;
  GPIO_InitStruct.Mode = GPIO_MODE_OUTPUT_PP;
  GPIO_InitStruct.Pull = GPIO_NOPULL;
  GPIO_InitStruct.Speed = GPIO_SPEED_FREQ_LOW;
  HAL_GPIO_Init(GPIOB, &GPIO_InitStruct);

  /*Configure GPIO pins : LPS22HB_INT_DRDY_EXTI0_Pin LSM6DSL_INT1_EXTI11_Pin ARD_D2_Pin HTS221_DRDY_EXTI15_Pin
                           PMOD_IRQ_EXTI12_Pin */
  GPIO_InitStruct.Pin = LPS22HB_INT_DRDY_EXTI0_Pin|LSM6DSL_INT1_EXTI11_Pin|ARD_D2_Pin|HTS221_DRDY_EXTI15_Pin
                          |PMOD_IRQ_EXTI12_Pin;
  GPIO_InitStruct.Mode = GPIO_MODE_IT_RISING;
  GPIO_InitStruct.Pull = GPIO_NOPULL;
  HAL_GPIO_Init(GPIOD, &GPIO_InitStruct);

  /*Configure GPIO pins : USB_OTG_FS_PWR_EN_Pin SPBTLE_RF_SPI3_CSN_Pin PMOD_RESET_Pin STSAFE_A100_RESET_Pin */
  GPIO_InitStruct.Pin = USB_OTG_FS_PWR_EN_Pin|SPBTLE_RF_SPI3_CSN_Pin|PMOD_RESET_Pin|STSAFE_A100_RESET_Pin;
  GPIO_InitStruct.Mode = GPIO_MODE_OUTPUT_PP;
  GPIO_InitStruct.Pull = GPIO_NOPULL;
  GPIO_InitStruct.Speed = GPIO_SPEED_FREQ_LOW;
  HAL_GPIO_Init(GPIOD, &GPIO_InitStruct);

  /*Configure GPIO pins : VL53L0X_XSHUT_Pin LED3_WIFI__LED4_BLE_Pin */
  GPIO_InitStruct.Pin = VL53L0X_XSHUT_Pin|LED3_WIFI__LED4_BLE_Pin;
  GPIO_InitStruct.Mode = GPIO_MODE_OUTPUT_PP;
  GPIO_InitStruct.Pull = GPIO_NOPULL;
  GPIO_InitStruct.Speed = GPIO_SPEED_FREQ_LOW;
  HAL_GPIO_Init(GPIOC, &GPIO_InitStruct);

  /*Configure GPIO pins : VL53L0X_GPIO1_EXTI7_Pin LSM3MDL_DRDY_EXTI8_Pin */
  GPIO_InitStruct.Pin = VL53L0X_GPIO1_EXTI7_Pin|LSM3MDL_DRDY_EXTI8_Pin;
  GPIO_InitStruct.Mode = GPIO_MODE_IT_RISING;
  GPIO_InitStruct.Pull = GPIO_NOPULL;
  HAL_GPIO_Init(GPIOC, &GPIO_InitStruct);

  /*Configure GPIO pin : PMOD_SPI2_SCK_Pin */
  GPIO_InitStruct.Pin = PMOD_SPI2_SCK_Pin;
  GPIO_InitStruct.Mode = GPIO_MODE_AF_PP;
  GPIO_InitStruct.Pull = GPIO_NOPULL;
  GPIO_InitStruct.Speed = GPIO_SPEED_FREQ_VERY_HIGH;
  GPIO_InitStruct.Alternate = GPIO_AF5_SPI2;
  HAL_GPIO_Init(PMOD_SPI2_SCK_GPIO_Port, &GPIO_InitStruct);

  /*Configure GPIO pins : PMOD_UART2_CTS_Pin PMOD_UART2_RTS_Pin PMOD_UART2_TX_Pin PMOD_UART2_RX_Pin */
  GPIO_InitStruct.Pin = PMOD_UART2_CTS_Pin|PMOD_UART2_RTS_Pin|PMOD_UART2_TX_Pin|PMOD_UART2_RX_Pin;
  GPIO_InitStruct.Mode = GPIO_MODE_AF_PP;
  GPIO_InitStruct.Pull = GPIO_NOPULL;
  GPIO_InitStruct.Speed = GPIO_SPEED_FREQ_VERY_HIGH;
  GPIO_InitStruct.Alternate = GPIO_AF7_USART2;
  HAL_GPIO_Init(GPIOD, &GPIO_InitStruct);

  /*Configure GPIO pins : ARD_D15_Pin ARD_D14_Pin */
  GPIO_InitStruct.Pin = ARD_D15_Pin|ARD_D14_Pin;
  GPIO_InitStruct.Mode = GPIO_MODE_AF_OD;
  GPIO_InitStruct.Pull = GPIO_PULLUP;
  GPIO_InitStruct.Speed = GPIO_SPEED_FREQ_VERY_HIGH;
  GPIO_InitStruct.Alternate = GPIO_AF4_I2C1;
  HAL_GPIO_Init(GPIOB, &GPIO_InitStruct);

  /* EXTI interrupt init*/
  HAL_NVIC_SetPriority(EXTI9_5_IRQn, 0, 0);
  HAL_NVIC_EnableIRQ(EXTI9_5_IRQn);

  HAL_NVIC_SetPriority(EXTI15_10_IRQn, 0, 0);
  HAL_NVIC_EnableIRQ(EXTI15_10_IRQn);

}

void Error_Handler(void)
{
  __disable_irq();
  while (1)
  {
  }
}

/************************ (C) COPYRIGHT STMicroelectronics *****END OF FILE****/
